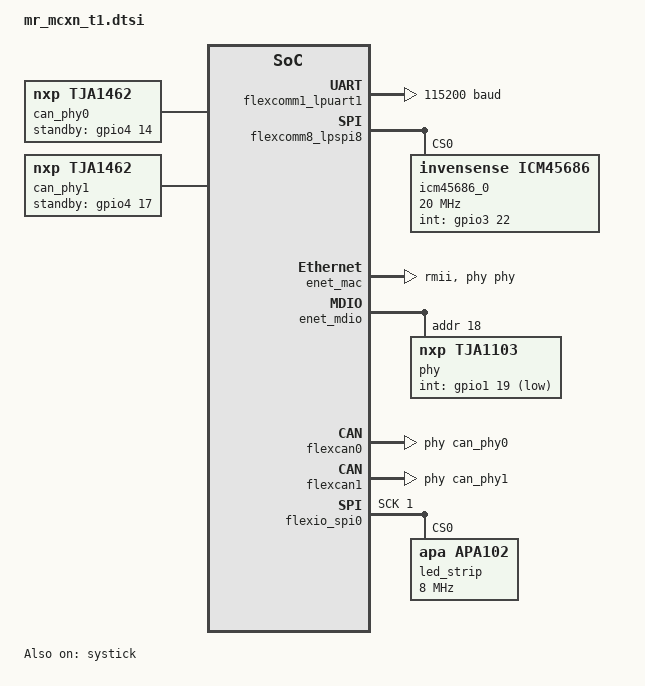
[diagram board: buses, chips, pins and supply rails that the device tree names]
/*
 * Copyright 2025-2026 NXP
 *
 * SPDX-License-Identifier: Apache-2.0
 */

#include "mr_mcxn_t1-pinctrl.dtsi"
#include <zephyr/dt-bindings/i2c/i2c.h>
#include <zephyr/dt-bindings/input/input-event-codes.h>
#include <zephyr/dt-bindings/sensor/icm45686.h>
#include <zephyr/dt-bindings/led/led.h>

/ {
	can_phy0: can-phy0 {
		compatible = "nxp,tja1462", "can-transceiver-gpio";
		standby-gpios = <&gpio4 14 GPIO_ACTIVE_HIGH>;
		max-bitrate = <5000000>;
		#phy-cells = <0>;
	};

	can_phy1: can-phy1 {
		compatible = "nxp,tja1462", "can-transceiver-gpio";
		standby-gpios = <&gpio4 17 GPIO_ACTIVE_HIGH>;
		max-bitrate = <5000000>;
		#phy-cells = <0>;
	};
};

&flexcomm1 {
	/* Lower UART interrupt priority so it doesn't clug the others */
	interrupts = <0x24 0x2>;
};

&flexcomm1_lpuart1 {
	current-speed = <115200>;
	pinctrl-0 = <&pinmux_flexcomm1_lpuart>;
	pinctrl-names = "default";
};

&flexcomm8_lpspi8 {
	pinctrl-0 = <&pinmux_flexcomm8_lpspi>;
	pinctrl-names = "default";

	icm45686_0: icm45686_hub@0 {
		compatible = "invensense,icm45686";
		reg = <0>;
		spi-max-frequency = <DT_FREQ_M(20)>;
		int-gpios = <&gpio3 22 GPIO_ACTIVE_HIGH>;
		spi-cs-setup-delay-ns = <50>;
		spi-cs-hold-delay-ns = <50>;
		spi-interframe-delay-ns = <50>;
		accel-pwr-mode = <ICM45686_DT_ACCEL_LN>;
		accel-fs = <ICM45686_DT_ACCEL_FS_2>;
		accel-odr = <ICM45686_DT_ACCEL_ODR_400>;
		accel-lpf = <ICM45686_DT_ACCEL_LPF_BW_1_32>;
		gyro-pwr-mode = <ICM45686_DT_GYRO_LN>;
		gyro-fs = <ICM45686_DT_GYRO_FS_4000>;
		gyro-odr = <ICM45686_DT_GYRO_ODR_400>;
		gyro-lpf = <ICM45686_DT_GYRO_LPF_BW_1_32>;
		fifo-watermark = <1>;
	};
};


/*
 * MCXN947 board uses OS timer as the kernel timer
 * In case we need to switch to SYSTICK timer, then
 * replace &os_timer with &systick
 */
&os_timer {
	status = "disabled";
};

&systick {
	status = "okay";
};

&sram {
	sramg: memory@20050000 {
		compatible = "mmio-sram";
		reg = <0x20050000 DT_SIZE_K(64)>;
	};

	sramh: memory@20060000 {
		compatible = "mmio-sram";
		reg = <0x20060000 DT_SIZE_K(32)>;
	};
};

&flash {
	partitions {
		ranges;
		#address-cells = <1>;
		#size-cells = <1>;

		/*
		 * Partition sizes must be aligned
		 * to the flash memory sector size of 8KB.
		 */
		boot_partition: partition@0 {
			compatible = "zephyr,mapped-partition";
			label = "mcuboot";
			reg = <0x00000000 DT_SIZE_K(80)>;
		};

        /*
		 * slot0 and slot1 partitions must be equal in size for
		 * MCUboot swap upgrades and are 968K each. The
		 * storage_partition is 32K at the top of the 2MB
		 * internal flash, ending exactly at 0x200000.
		 */
		slot0_partition: partition@14000 {
			compatible = "zephyr,mapped-partition";
			label = "image-0";
			reg = <0x00014000 DT_SIZE_K(968)>;
		};

		slot1_partition: partition@106000 {
			compatible = "zephyr,mapped-partition";
			label = "image-1";
			reg = <0x00106000 DT_SIZE_K(968)>;
		};

		storage_partition: partition@1F8000 {
			compatible = "zephyr,mapped-partition";
			label = "storage";
			reg = <0x001F8000 DT_SIZE_K(32)>;
		};
	};
};

&enet {
	pinctrl-0 = <&pinmux_enet_qos>;
	pinctrl-names = "default";
};

&enet_mac {
	phy-connection-type = "rmii";
	zephyr,random-mac-address;
	phy-handle = <&phy>;
};

&enet_mdio {
	phy: ethernet-phy@12 {
		compatible = "nxp,tja1103";
		reg = <0x12>;
		int-gpios = <&gpio1 19 GPIO_ACTIVE_LOW>;
		master-slave = "auto";
	};
};

&flexpwm0_pwm0 {
	pinctrl-0 = <&pinmux_flexpwm0_pwm0>;
	pinctrl-names = "default";
};

&flexpwm1_pwm0 {
	pinctrl-0 = <&pinmux_flexpwm1_pwm0>;
	pinctrl-names = "default";
};

&flexcan0 {
	pinctrl-0 = <&pinmux_flexcan0>;
	pinctrl-names = "default";
	phys = <&can_phy0>;
};

&flexcan1 {
	pinctrl-0 = <&pinmux_flexcan1>;
	pinctrl-names = "default";
	phys = <&can_phy1>;
};

&flexio0 {
	flexio_spi0: flexio_spi0 {
		compatible = "nxp,flexio-spi";
		#address-cells = <1>;
		#size-cells = <0>;
		sdo-pin = <0>;
		sdi-pin = <0>;
		sck-pin = <1>;
		pinctrl-0 = <&pinmux_flexio_spi0>;
		pinctrl-names = "default";

		led_strip: apa102@0 {
			compatible = "apa,apa102";
			reg = <0>;
			spi-max-frequency = <DT_FREQ_M(8)>;
			chain-length = <1>;
			color-mapping = <LED_COLOR_ID_BLUE
					LED_COLOR_ID_GREEN
					LED_COLOR_ID_RED>;
		};
	};

};
